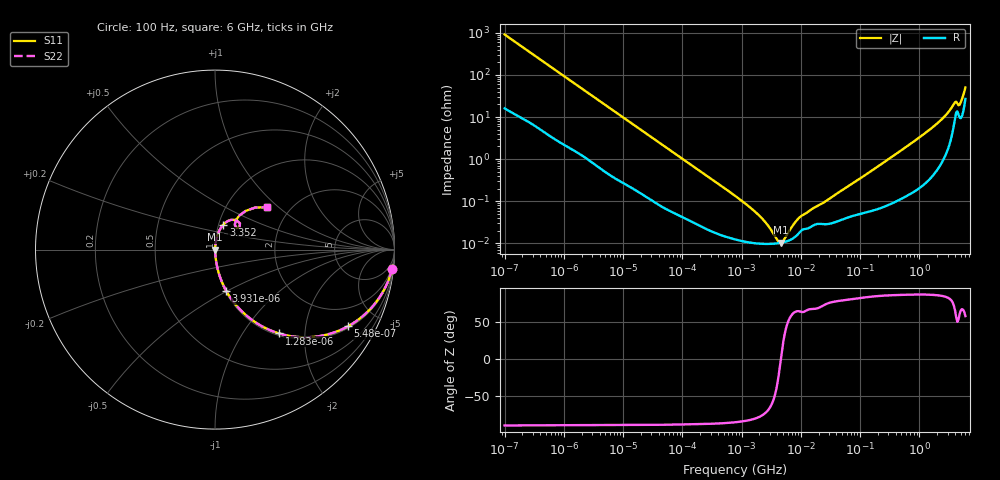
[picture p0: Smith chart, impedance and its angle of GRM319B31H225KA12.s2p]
!Murata Part Number: GRM319B31H225KA12
!These Parameters are Measured in Series Mode Connection
!Data Generated on Mar 30, 2021
!  o--ll--o
!Port1  Port2
!  o------o
!Operation Temp=25[degC], DC Bias Voltage=0[V]
!Freq. Start=100[Hz] Stop=6[GHz] 401[Steps]
# Hz S RI R 50
!Freq.(Hz) S11(Real) S11(Imag) S21(Real) S21(Imag) S12(Real) S12(Imag) S22(Real) S22(Imag)
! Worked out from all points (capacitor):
!   401 points, 100 Hz to 6 GHz, reference 50 ohm
!   read as one part in series: C = 1.73 uF near 109 Hz
!   lowest |Z| = 10.3 mohm at 4.644 MHz (marker M1)
!   series resonance near 4.606 MHz, so ESL is about 690 pH
!   S11 on the Smith chart (normalised r, x): 100 Hz: 1, -18; 548 Hz: 1.07, -3.42; 1.283 kHz: 1.04, -1.48; 3.931 kHz: 1.01, -0.49; 3.352 GHz: 1.05, +0.30; 6 GHz: 1.54, +0.85
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100  0.9864 -0.1074  0.0136 0.1074  0.0136 0.1074  0.9864 -0.1074
268  0.9184 -0.2635  0.0816 0.2635  0.0816 0.2635  0.9184 -0.2635
548  0.7405 -0.4275  0.2595 0.4275  0.2595 0.4275  0.7405 -0.4275
858  0.546 -0.4866  0.454 0.4866  0.454 0.4866  0.546 -0.4866
1283  0.3564 -0.4669  0.6436 0.4669  0.6436 0.4669  0.3564 -0.4669
2008  0.1908 -0.3802  0.8092 0.3802  0.8092 0.3802  0.1908 -0.3802
3931  0.0622 -0.2291  0.9378 0.2291  0.9378 0.2291  0.0622 -0.2291
10527  0.0111 -0.0919  0.9889 0.0919  0.9889 0.0919  0.0111 -0.0919
40335  0.00143 -0.0249  0.9986 0.0249  0.9986 0.0249  0.00143 -0.0249
774597  0.000126 -0.00134  0.9999 0.00134  0.9999 0.00134  0.000126 -0.00134
2074311  9.79e-05 -0.000418  0.9999 0.000418  0.9999 0.000418  9.79e-05 -0.000418
2837864  9.68e-05 -0.000238  0.9999 0.000238  0.9999 0.000238  9.68e-05 -0.000238
4060267  0.0001 -6e-05  0.9999 6e-05  0.9999 6e-05  0.0001 -6e-05
4643984  0.000103 4e-06  0.9999 -4e-06  0.9999 -4e-06  0.000103 4e-06
9090158  0.000169 0.000349  0.9998 -0.000349  0.9998 -0.000349  0.000169 0.000349
1.555665e7  0.000257 0.000606  0.9997 -0.000606  0.9997 -0.000606  0.000257 0.000606
3.124326e8  0.000937 0.0103  0.9991 -0.0103  0.9991 -0.0103  0.000937 0.0103
1.565993e9  0.0063 0.0522  0.9937 -0.0522  0.9937 -0.0522  0.0063 0.0522
3.352442e9  0.0462 0.1391  0.9538 -0.1391  0.9538 -0.1391  0.0462 0.1391
3.8344e9  0.091 0.1661  0.909 -0.1661  0.909 -0.1661  0.091 0.1661
4.796499e9  0.1101 0.1385  0.8899 -0.1385  0.8899 -0.1385  0.1101 0.1385
6e9  0.2913 0.2368  0.7087 -0.2368  0.7087 -0.2368  0.2913 0.2368
